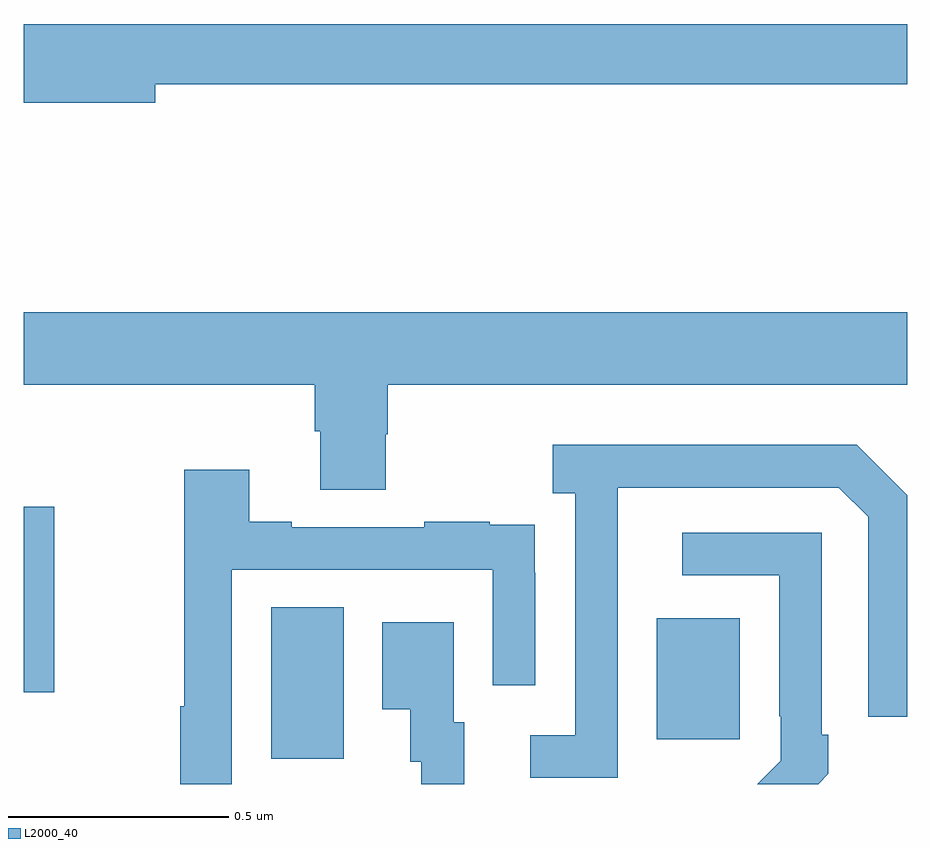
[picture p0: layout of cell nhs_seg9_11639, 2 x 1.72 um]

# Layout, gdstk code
import gdstk
lib = gdstk.Library(unit=1e-6, precision=1e-09)
def R(c, l, rs):  # rectangles x0, y0, x1, y1
    for r in rs: c.add(gdstk.rectangle(r[:2], r[2:], *l))
def P(c, l, *ps):  # polygons
    for p in ps: c.add(gdstk.Polygon(p, *l))
L2000_40 = (2000, 40)

nhs_seg9_11639 = lib.new_cell('nhs_seg9_11639')
R(nhs_seg9_11639, L2000_40, [(258.56,1211.557,258.724,1211.9), (259.433,1211.601,259.621,1211.875), (258,1211.708,258.069,1212.127)])
P(nhs_seg9_11639, L2000_40, [(258.298,1213.084),(260,1213.084),(260,1213.22),(258,1213.22),(258,1213.042),(258.298,1213.042)],
  [(258.819,1212.291),(258.824,1212.291),(258.824,1212.404),(260,1212.404),(260,1212.568),(258,1212.568),(258,1212.404),(258.659,1212.404),(258.659,1212.298),(258.671,1212.298),(258.671,1212.166),(258.819,1212.166)],
  [(259.344,1211.971),(259.345,1211.971),(259.345,1212.171),(259.845,1212.171),(259.911,1212.105),(259.911,1211.652),(260,1211.652),(260,1212.154),(259.886,1212.268),(259.197,1212.268),(259.197,1212.158),(259.248,1212.158),(259.248,1211.61),(259.146,1211.61),(259.146,1211.514),(259.344,1211.514)],
  [(258.471,1211.985),(259.062,1211.985),(259.062,1211.724),(259.158,1211.724),(259.158,1211.978),(259.157,1211.978),(259.157,1212.087),(259.055,1212.087),(259.055,1212.094),(258.907,1212.094),(258.907,1212.081),(258.607,1212.081),(258.607,1212.094),(258.511,1212.094),(258.511,1212.211),(258.363,1212.211),(258.363,1211.676),(258.355,1211.676),(258.355,1211.5),(258.471,1211.5)],
  [(259.821,1211.523),(259.821,1211.611),(259.806,1211.611),(259.806,1212.069),(259.491,1212.069),(259.491,1211.973),(259.71,1211.973),(259.71,1211.653),(259.713,1211.653),(259.713,1211.553),(259.66,1211.5),(259.798,1211.5)],
  [(258.997,1211.64),(258.973,1211.64),(258.973,1211.866),(258.812,1211.866),(258.812,1211.669),(258.875,1211.669),(258.875,1211.55),(258.9,1211.55),(258.9,1211.5),(258.997,1211.5)])

lib.write_gds('nhs_seg9_11639.gds')
